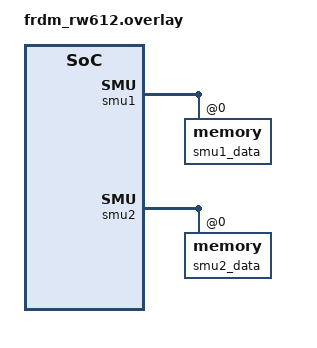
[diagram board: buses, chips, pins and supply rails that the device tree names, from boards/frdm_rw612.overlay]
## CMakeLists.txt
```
# SPDX-License-Identifier: Apache-2.0

cmake_minimum_required(VERSION 3.20.0)
find_package(Zephyr REQUIRED HINTS $ENV{ZEPHYR_BASE})
project(kernel_common)

if(CONFIG_PRINTK)
target_sources(app PRIVATE
	src/printk.c
  )
endif()
target_sources(app PRIVATE
	src/atomic.c
	src/bitarray.c
	src/byteorder.c
	src/clock.c
	src/main.c
	src/timeout_order.c
	src/multilib.c
	src/errno.c
	src/boot_delay.c
	src/pow2.c
  )

target_sources_ifdef(
	CONFIG_STATIC_INIT_GNU
	app PRIVATE
	src/constructor.c
)

target_sources_ifdef(
	CONFIG_IRQ_OFFLOAD
	app PRIVATE
	src/irq_offload.c
)
```

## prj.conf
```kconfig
CONFIG_ZTEST=y
CONFIG_PRINTK=y
CONFIG_LOG=y
CONFIG_POLL=y
CONFIG_BOOT_DELAY=500
CONFIG_IRQ_OFFLOAD=y
CONFIG_TEST_USERSPACE=y
CONFIG_BOUNDS_CHECK_BYPASS_MITIGATION=y
CONFIG_MAX_THREAD_BYTES=3
```

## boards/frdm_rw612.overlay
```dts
/*
 * Copyright 2024 NXP
 *
 * SPDX-License-Identifier: Apache-2.0
 */

&smu1 {
	smu1_data: memory@0 {
		/delete-property/ zephyr,memory-attr;
	};
};

&smu2 {
	smu2_data: memory@0 {
		/delete-property/ zephyr,memory-attr;
	};
};
```

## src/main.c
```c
/*
 * Copyright (c) 2016 Intel Corporation
 *
 * SPDX-License-Identifier: Apache-2.0
 */


#include <zephyr/ztest.h>
#include <zephyr/kernel_version.h>
#include <zephyr/sys/speculation.h>
#include <zephyr/version.h>

/**
 * @defgroup kernel_common_tests Common Tests
 * @ingroup all_tests
 * @{
 * @}
 *
 */

#ifndef CONFIG_PRINTK
ZTEST(printk, test_printk)
{
	ztest_test_skip();
}
#endif

/**
 * @brief Test sys_kernel_version_get() functionality
 *
 * @ingroup kernel_common_tests
 *
 * @see sys_kernel_version_get()
 */
ZTEST(common, test_version)
{
	uint32_t version = sys_kernel_version_get();

	zassert_true(SYS_KERNEL_VER_MAJOR(version) == KERNEL_VERSION_MAJOR,
		     "major version mismatch");
	zassert_true(SYS_KERNEL_VER_MINOR(version) == KERNEL_VERSION_MINOR,
		     "minor version mismatch");
	zassert_true(SYS_KERNEL_VER_PATCHLEVEL(version) == KERNEL_PATCHLEVEL,
		     "patchlevel version match");

}

ZTEST(common, test_bounds_check_mitigation)
{
	/* Very hard to test against speculation attacks, but we can
	 * at least assert that logically this function does
	 * what it says it does.
	 */

	int index = 17;

	index = k_array_index_sanitize(index, 24);
	zassert_equal(index, 17, "bad index");

#ifdef CONFIG_USERSPACE
	index = k_array_index_sanitize(index, 5);
	zassert_equal(index, 0, "bad index");
#endif
}

extern struct k_stack eno_stack;
extern struct k_thread eno_thread;

void *common_setup(void)
{
#if CONFIG_USERSPACE
	k_thread_access_grant(k_current_get(), &eno_thread, &eno_stack);
#endif

	return NULL;
}

ZTEST_SUITE(common, NULL, common_setup, NULL, NULL, NULL);
```

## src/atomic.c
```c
/*
 * Copyright (c) 2015 Intel Corporation
 *
 * SPDX-License-Identifier: Apache-2.0
 */

#include <zephyr/ztest.h>
#include <zephyr/sys/atomic.h>

/* convenience macro - return either 64-bit or 32-bit value */
#define ATOMIC_WORD(val_if_64, val_if_32)                                                          \
	((atomic_t)((sizeof(void *) == sizeof(uint64_t)) ? (val_if_64) : (val_if_32)))

/* an example of the number of atomic bit in an array */
#define NUM_FLAG_BITS 100

/* set test_cycle 1000us * 20 = 20ms */
#define TEST_CYCLE 20

#define THREADS_NUM 2

#define STACK_SIZE (512 + CONFIG_TEST_EXTRA_STACK_SIZE)

static K_THREAD_STACK_ARRAY_DEFINE(stack, THREADS_NUM, STACK_SIZE);

static struct k_thread thread[THREADS_NUM];

atomic_t total_atomic;

/**
 * @addtogroup kernel_common_tests
 * @{
 */

/**
 * @brief Verify atomic functionalities
 * @details
 * Test Objective:
 * - Test the function of the atomic operation API is correct.
 *
 * Test techniques:
 * - Dynamic analysis and testing
 * - Functional and black box testing
 * - Interface testing
 *
 * Prerequisite Conditions:
 * - N/A
 *
 * Input Specifications:
 * - N/A
 *
 * Test Procedure:
 * -# Call the API interface of the following atomic operations in turn,
 * judge the change of function return value and target operands.
 * - atomic_cas()
 * - atomic_ptr_cas()
 * - atomic_add()
 * - atomic_sub()
 * - atomic_inc()
 * - atomic_dec()
 * - atomic_get()
 * - atomic_ptr_get()
 * - atomic_set()
 * - atomic_ptr_set()
 * - atomic_clear()
 * - atomic_ptr_clear()
 * - atomic_or()
 * - atomic_xor()
 * - atomic_and()
 * - atomic_nand()
 * - atomic_test_bit()
 * - atomic_test_and_clear_bit()
 * - atomic_test_and_set_bit()
 * - atomic_clear_bit()
 * - atomic_set_bit()
 * - atomic_set_bit_to()
 * - ATOMIC_DEFINE
 *
 * Expected Test Result:
 * - The change of function return value and target operands is correct.
 *
 * Pass/Fail Criteria:
 * - Successful if check points in test procedure are all passed, otherwise failure.
 *
 * Assumptions and Constraints:
 * - N/A
 *
 * @see atomic_cas(), atomic_add(), atomic_sub(),
 * atomic_inc(), atomic_dec(), atomic_get(), atomic_set(),
 * atomic_clear(), atomic_or(), atomic_and(), atomic_xor(),
 * atomic_nand(), atomic_test_bit(), atomic_test_and_clear_bit(),
 * atomic_test_and_set_bit(), atomic_clear_bit(), atomic_set_bit(),
 * ATOMIC_DEFINE
 *
 * @ingroup kernel_common_tests
 */
ZTEST_USER(atomic, test_atomic)
{
	int i;

	atomic_t target, orig;
	atomic_ptr_t ptr_target;
	atomic_val_t value;
	atomic_val_t oldvalue;
	void *ptr_value, *old_ptr_value;

	ATOMIC_DEFINE(flag_bits, NUM_FLAG_BITS) = {0};

	zassert_equal(sizeof(atomic_t), ATOMIC_WORD(sizeof(uint64_t), sizeof(uint32_t)),
		      "sizeof(atomic_t)");

	target = 4;
	value = 5;
	oldvalue = 6;

	/* atomic_cas() */
	zassert_false(atomic_cas(&target, oldvalue, value), "atomic_cas");
	target = 6;
	zassert_true(atomic_cas(&target, oldvalue, value), "atomic_cas");
	zassert_true((target == value), "atomic_cas");

	/* atomic_ptr_cas() */
	ptr_target = ATOMIC_PTR_INIT((void *)4);
	ptr_value = (atomic_ptr_val_t)5;
	old_ptr_value = (atomic_ptr_val_t)6;
	zassert_false(atomic_ptr_cas(&ptr_target, old_ptr_value, ptr_value),
		      "atomic_ptr_cas");
	ptr_target = (atomic_ptr_val_t)6;
	zassert_true(atomic_ptr_cas(&ptr_target, old_ptr_value, ptr_value),
		     "atomic_ptr_cas");
	zassert_true((ptr_target == ptr_value), "atomic_ptr_cas");

	/* atomic_add() */
	target = 1;
	value = 2;
	zassert_true((atomic_add(&target, value) == 1), "atomic_add");
	zassert_true((target == 3), "atomic_add");
	/* Test the atomic_add() function parameters can be negative */
	target = 2;
	value = -4;
	zassert_true((atomic_add(&target, value) == 2), "atomic_add");
	zassert_true((target == -2), "atomic_add");

	/* atomic_sub() */
	target = 10;
	value = 2;
	zassert_true((atomic_sub(&target, value) == 10), "atomic_sub");
	zassert_true((target == 8), "atomic_sub");
	/* Test the atomic_sub() function parameters can be negative */
	target = 5;
	value = -4;
	zassert_true((atomic_sub(&target, value) == 5), "atomic_sub");
	zassert_true((target == 9), "atomic_sub");

	/* atomic_inc() */
	target = 5;
	zassert_true((atomic_inc(&target) == 5), "atomic_inc");
	zassert_true((target == 6), "atomic_inc");

	/* atomic_dec() */
	target = 2;
	zassert_true((atomic_dec(&target) == 2), "atomic_dec");
	zassert_true((target == 1), "atomic_dec");

	/* atomic_get() */
	target = 50;
	zassert_true((atomic_get(&target) == 50), "atomic_get");

	/* atomic_ptr_get() */
	ptr_target = ATOMIC_PTR_INIT((void *)50);
	zassert_true((atomic_ptr_get(&ptr_target) == (atomic_ptr_val_t)50),
		     "atomic_ptr_get");

	/* atomic_set() */
	target = 42;
	value = 77;
	zassert_true((atomic_set(&target, value) == 42), "atomic_set");
	zassert_true((target == value), "atomic_set");

	/* atomic_ptr_set() */
	ptr_target = ATOMIC_PTR_INIT((void *)42);
	ptr_value = (atomic_ptr_val_t)77;
	zassert_true((atomic_ptr_set(&ptr_target, ptr_value) == (atomic_ptr_val_t)42),
		     "atomic_ptr_set");
	zassert_true((ptr_target == ptr_value), "atomic_ptr_set");

	/* atomic_clear() */
	target = 100;
	zassert_true((atomic_clear(&target) == 100), "atomic_clear");
	zassert_true((target == 0), "atomic_clear");

	/* atomic_ptr_clear() */
	ptr_target = ATOMIC_PTR_INIT((void *)100);
	zassert_true((atomic_ptr_clear(&ptr_target) == (atomic_ptr_val_t)100),
		     "atomic_ptr_clear");
	zassert_true((ptr_target == NULL), "atomic_ptr_clear");

	/* atomic_or() */
	target = 0xFF00;
	value  = 0x0F0F;
	zassert_true((atomic_or(&target, value) == 0xFF00), "atomic_or");
	zassert_true((target == 0xFF0F), "atomic_or");

	/* atomic_xor() */
	target = 0xFF00;
	value  = 0x0F0F;
	zassert_true((atomic_xor(&target, value) == 0xFF00), "atomic_xor");
	zassert_true((target == 0xF00F), "atomic_xor");

	/* atomic_and() */
	target = 0xFF00;
	value  = 0x0F0F;
	zassert_true((atomic_and(&target, value) == 0xFF00), "atomic_and");
	zassert_true((target == 0x0F00), "atomic_and");


	/* atomic_nand() */
	target = 0xFF00;
	value  = 0x0F0F;
	zassert_true((atomic_nand(&target, value) == 0xFF00), "atomic_nand");
	zassert_true((target == ATOMIC_WORD(0xFFFFFFFFFFFFF0FF, 0xFFFFF0FF)), "atomic_nand");

	/* atomic_test_bit() */
	for (i = 0; i < ATOMIC_BITS; i++) {
		target = ATOMIC_WORD(0x0F0F0F0F0F0F0F0F, 0x0F0F0F0F);
		zassert_true(!!(atomic_test_bit(&target, i) == !!(target & BIT(i))),
			     "atomic_test_bit");
	}

	/* atomic_test_and_clear_bit() */
	for (i = 0; i < ATOMIC_BITS; i++) {
		orig = ATOMIC_WORD(0x0F0F0F0F0F0F0F0F, 0x0F0F0F0F);
		target = orig;
		zassert_true(!!(atomic_test_and_clear_bit(&target, i)) == !!(orig & BIT(i)),
			     "atomic_test_and_clear_bit");
		zassert_true(target == (orig & ~BIT(i)), "atomic_test_and_clear_bit");
	}

	/* atomic_test_and_set_bit() */
	for (i = 0; i < ATOMIC_BITS; i++) {
		orig = ATOMIC_WORD(0x0F0F0F0F0F0F0F0F, 0x0F0F0F0F);
		target = orig;
		zassert_true(!!(atomic_test_and_set_bit(&target, i)) == !!(orig & BIT(i)),
			     "atomic_test_and_set_bit");
		zassert_true(target == (orig | BIT(i)), "atomic_test_and_set_bit");
	}

	/* atomic_clear_bit() */
	for (i = 0; i < ATOMIC_BITS; i++) {
		orig = ATOMIC_WORD(0x0F0F0F0F0F0F0F0F, 0x0F0F0F0F);
		target = orig;
		atomic_clear_bit(&target, i);
		zassert_true(target == (orig & ~BIT(i)), "atomic_clear_bit");
	}

	/* atomic_set_bit() */
	for (i = 0; i < ATOMIC_BITS; i++) {
		orig = ATOMIC_WORD(0x0F0F0F0F0F0F0F0F, 0x0F0F0F0F);
		target = orig;
		atomic_set_bit(&target, i);
		zassert_true(target == (orig | BIT(i)), "atomic_set_bit");
	}

	/* atomic_set_bit_to(&target, i, false) */
	for (i = 0; i < ATOMIC_BITS; i++) {
		orig = ATOMIC_WORD(0x0F0F0F0F0F0F0F0F, 0x0F0F0F0F);
		target = orig;
		atomic_set_bit_to(&target, i, false);
		zassert_true(target == (orig & ~BIT(i)), "atomic_set_bit_to");
	}

	/* atomic_set_bit_to(&target, i, true) */
	for (i = 0; i < ATOMIC_BITS; i++) {
		orig = ATOMIC_WORD(0x0F0F0F0F0F0F0F0F, 0x0F0F0F0F);
		target = orig;
		atomic_set_bit_to(&target, i, true);
		zassert_true(target == (orig | BIT(i)), "atomic_set_bit_to");
	}

	/* ATOMIC_DEFINE */
	for (i = 0; i < NUM_FLAG_BITS; i++) {
		atomic_set_bit(flag_bits, i);
		zassert_true(!!atomic_test_bit(flag_bits, i) == !!(1),
			"Failed to set a single bit in an array of atomic variables");
		atomic_clear_bit(flag_bits, i);
		zassert_true(!!atomic_test_bit(flag_bits, i) == !!(0),
			"Failed to clear a single bit in an array of atomic variables");
	}
}

/* This helper function will run more the one slice */
void atomic_handler(void *p1, void *p2, void *p3)
{
	ARG_UNUSED(p1);
	ARG_UNUSED(p2);
	ARG_UNUSED(p3);

	for (int i = 0; i < TEST_CYCLE; i++) {
		atomic_inc(&total_atomic);
		/* Do 1000us busywait to longer the handler execute time */
		k_busy_wait(1000);
	}
}

/**
 * @brief Verify atomic operation with threads
 *
 * @details Creat two preempt threads with equal priority to
 * atomically access the same atomic value. Because these preempt
 * threads are of equal priority, so enable time slice to make
 * them scheduled. The thread will execute for some time.
 * In this time, the two sub threads will be scheduled separately
 * according to the time slice.
 *
 * @ingroup kernel_common_tests
 */
ZTEST(atomic, test_threads_access_atomic)
{
	k_tid_t tid[THREADS_NUM];

	/* enable time slice 1ms at priority 10 */
	k_sched_time_slice_set(1, K_PRIO_PREEMPT(10));

	for (int i = 0; i < THREADS_NUM; i++) {
		tid[i] = k_thread_create(&thread[i], stack[i], STACK_SIZE,
				atomic_handler, NULL, NULL, NULL,
				K_PRIO_PREEMPT(10), 0, K_NO_WAIT);
	}

	for (int i = 0; i < THREADS_NUM; i++) {
		k_thread_join(tid[i], K_FOREVER);
	}

	/* disable time slice */
	k_sched_time_slice_set(0, K_PRIO_PREEMPT(10));

	zassert_true(total_atomic == (TEST_CYCLE * THREADS_NUM),
		"atomic counting failure");
}

/**
 * @brief Checks that the value of atomic_t will be the same in case of overflow
 *		if incremented in atomic and non-atomic manner
 *
 * @details According to C standard the value of a signed variable
 *	is undefined in case of overflow. This test checks that the value
 *	of atomic_t will be the same in case of overflow if incremented in atomic
 *	and non-atomic manner. This allows us to increment an atomic variable
 *	in a non-atomic manner (as long as it is logically safe)
 *	and expect its value to match the result of the similar atomic increment.
 *
 * @ingroup kernel_common_tests
 */
ZTEST(atomic, test_atomic_overflow)
{
	/* Check overflow over max signed value */
	uint64_t overflowed_value = (uint64_t)1 << (ATOMIC_BITS - 1);
	atomic_val_t atomic_value = overflowed_value - 1;
	atomic_t atomic_var = ATOMIC_INIT(atomic_value);

	atomic_value++;
	atomic_inc(&atomic_var);

	zassert_true(atomic_value == atomic_get(&atomic_var),
		"max signed overflow mismatch: %lx/%lx",
		atomic_value, atomic_get(&atomic_var));
	zassert_true(atomic_value == (atomic_val_t)overflowed_value,
		"unexpected value after overflow: %lx, expected: %lx",
		atomic_value, (atomic_val_t)overflowed_value);

	/* Check overflow over max unsigned value */
	atomic_value = -1;
	atomic_var = ATOMIC_INIT(atomic_value);

	atomic_value++;
	atomic_inc(&atomic_var);

	zassert_true(atomic_value == atomic_get(&atomic_var),
		"max unsigned overflow mismatch: %lx/%lx",
		atomic_value, atomic_get(&atomic_var));
	zassert_true(atomic_value == 0,
		"unexpected value after overflow: %lx, expected: 0",
		atomic_value);
}

extern void *common_setup(void);
ZTEST_SUITE(atomic, NULL, common_setup, NULL, NULL, NULL);
/**
 * @}
 */
```

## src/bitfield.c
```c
/*
 * Copyright (c) 2016 Intel Corporation
 *
 * SPDX-License-Identifier: Apache-2.0
 */

#include <zephyr/kernel.h>
#include <zephyr/ztest.h>
#include <zephyr/arch/cpu.h>

#include <zephyr/tc_util.h>

#ifdef CONFIG_BIG_ENDIAN
#define BIT_INDEX(bit)  ((3 - ((bit >> 3) & 0x3)) + 4*(bit >> 5))
#else
#define BIT_INDEX(bit)  (bit >> 3)
#endif
#define BIT_VAL(bit)    (1 << (bit & 0x7))
#define BITFIELD_SIZE   512

/**
 * @addtogroup kernel_common_tests
 * @{
 */

/**
 * @brief Test bitfield operations
 *
 * @see sys_test_bit(), sys_set_bit(), sys_clear_bit(),
 * sys_bitfield_set_bit(), sys_bitfield_clear_bit(),
 * sys_bitfield_test_bit(), sys_bitfield_test_and_set_bit(),
 * sys_bitfield_test_and_clear_bit()
 */
ZTEST(bitfield, test_bitfield)
{
#ifdef CONFIG_ARM
	ztest_test_skip();
#else
	uint32_t b1 = 0U;
	unsigned char b2[BITFIELD_SIZE >> 3] = { 0 };
	unsigned int bit;
	int ret;

	TC_PRINT("twiddling bits....\n");

	for (bit = 0U; bit < 32; ++bit) {
		sys_set_bit((mem_addr_t)&b1, bit);

		zassert_equal(b1, (1 << bit),
			      "sys_set_bit failed on bit %d\n", bit);

		zassert_true(sys_test_bit((mem_addr_t)&b1, bit),
			     "sys_test_bit did not detect bit %d\n", bit);

		sys_clear_bit((mem_addr_t)&b1, bit);
		zassert_equal(b1, 0, "sys_clear_bit failed for bit %d\n", bit);

		zassert_false(sys_test_bit((mem_addr_t)&b1, bit),
			      "sys_test_bit erroneously detected bit %d\n",
			      bit);

		zassert_false(sys_test_and_set_bit((mem_addr_t)&b1, bit),
			      "sys_test_and_set_bit erroneously"
			      " detected bit %d\n", bit);
		zassert_equal(b1, (1 << bit),
			      "sys_test_and_set_bit did not set bit %d\n",
			      bit);
		zassert_true(sys_test_and_set_bit((mem_addr_t)&b1, bit),
			     "sys_test_and_set_bit did not detect bit %d\n",
			     bit);
		zassert_equal(b1, (1 << bit),
			      "sys_test_and_set_bit cleared bit %d\n", bit);

		zassert_true(sys_test_and_clear_bit((mem_addr_t)&b1, bit),
			     "sys_test_and_clear_bit did not detect bit %d\n",
			     bit);
		zassert_equal(b1, 0, "sys_test_and_clear_bit did not clear"
			      " bit %d\n", bit);
		zassert_false(sys_test_and_clear_bit((mem_addr_t)&b1, bit),
			      "sys_test_and_clear_bit erroneously detected"
			      " bit %d\n", bit);
		zassert_equal(b1, 0, "sys_test_and_clear_bit set bit %d\n",
			      bit);
	}

	for (bit = 0U; bit < BITFIELD_SIZE; ++bit) {
		sys_bitfield_set_bit((mem_addr_t)b2, bit);
		zassert_equal(b2[BIT_INDEX(bit)], BIT_VAL(bit),
			      "sys_bitfield_set_bit failed for bit %d\n",
			      bit);
		zassert_true(sys_bitfield_test_bit((mem_addr_t)b2, bit),
			     "sys_bitfield_test_bit did not detect bit %d\n",
			     bit);

		sys_bitfield_clear_bit((mem_addr_t)b2, bit);
		zassert_equal(b2[BIT_INDEX(bit)], 0,
			      "sys_bitfield_clear_bit failed for bit %d\n",
			      bit);
		zassert_false(sys_bitfield_test_bit((mem_addr_t)b2, bit),
			      "sys_bitfield_test_bit erroneously detected"
			      " bit %d\n", bit);

		ret = sys_bitfield_test_and_set_bit((mem_addr_t)b2, bit);
		zassert_false(ret, "sys_bitfield_test_and_set_bit erroneously"
			      " detected bit %d\n", bit);

		zassert_equal(b2[BIT_INDEX(bit)], BIT_VAL(bit),
			      "sys_bitfield_test_and_set_bit did not set"
			      " bit %d\n", bit);
		zassert_true(sys_bitfield_test_and_set_bit((mem_addr_t)b2, bit),
			     "sys_bitfield_test_and_set_bit did not detect bit"
			     " %d\n", bit);
		zassert_equal(b2[BIT_INDEX(bit)], BIT_VAL(bit),
			      "sys_bitfield_test_and_set_bit cleared bit %d\n",
			      bit);

		zassert_true(sys_bitfield_test_and_clear_bit((mem_addr_t)b2,
							     bit), "sys_bitfield_test_and_clear_bit did not"
			     " detect bit %d\n", bit);
		zassert_equal(b2[BIT_INDEX(bit)], 0,
			      "sys_bitfield_test_and_clear_bit did not"
			      " clear bit %d\n", bit);
		zassert_false(sys_bitfield_test_and_clear_bit((mem_addr_t)b2,
							      bit), "sys_bitfield_test_and_clear_bit"
			      " erroneously detected bit %d\n", bit);
		zassert_equal(b2[BIT_INDEX(bit)], 0,
			      "sys_bitfield_test_and_clear_bit set bit %d\n",
			      bit);
	}
#endif

}

extern void *common_setup(void);

ZTEST_SUITE(bitfield, NULL, common_setup, NULL, NULL, NULL);

/**
 * @}
 */
```

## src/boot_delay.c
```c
/*
 * Copyright (c) 2018 Intel Corporation
 *
 * SPDX-License-Identifier: Apache-2.0
 */

#include <zephyr/ztest.h>

/**
 * @brief Test delay during boot
 * @defgroup kernel_init_tests Init
 * @ingroup all_tests
 * @{
 */

/**
 * @brief This module verifies the delay specified during boot.
 */
ZTEST(boot_delay, test_bootdelay)
{
	if (CONFIG_SYS_CLOCK_HW_CYCLES_PER_SEC > 1000000000) {
		/* Systems with very fast counters (like the x86 TSC)
		 * and long firmware startup (often 10+ seconds on a
		 * EFI PC!)  can easily roll this over during startup,
		 * and there's no way to detect that case with a 32
		 * bit OS API.  Just skip it if we have a GHz-scale
		 * counter.
		 */
		ztest_test_skip();
	}

	uint32_t current_cycles = k_cycle_get_32();

	/* compare this with the boot delay specified */
	zassert_true(k_cyc_to_ns_floor64(current_cycles) >=
			(NSEC_PER_MSEC * CONFIG_BOOT_DELAY),
			"boot delay not executed: %d < %d",
			(uint32_t)k_cyc_to_ns_floor64(current_cycles),
			(NSEC_PER_MSEC * CONFIG_BOOT_DELAY));
}

extern void *common_setup(void);
ZTEST_SUITE(boot_delay, NULL, common_setup, NULL, NULL, NULL);

/**
 * @}
 */
```

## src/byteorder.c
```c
/*
 * Copyright (c) 2016 Intel Corporation
 *
 * SPDX-License-Identifier: Apache-2.0
 */


#include <zephyr/ztest.h>

#include <zephyr/sys/byteorder.h>

/**
 * @addtogroup kernel_common_tests
 * @{
 */
/**
 * @brief Test swapping for memory contents
 *
 * @details Verify the functionality provided by
 * sys_memcpy_swap()
 *
 * @see sys_memcpy_swap()
 */
ZTEST(byteorder, test_byteorder_memcpy_swap)
{
	uint8_t buf_orig[8] = { 0x00, 0x01, 0x02, 0x03,
			     0x04, 0x05, 0x06, 0x07 };
	uint8_t buf_chk[8] = { 0x07, 0x06, 0x05, 0x04,
			    0x03, 0x02, 0x01, 0x00 };
	uint8_t buf_dst[8] = { 0 };

	sys_memcpy_swap(buf_dst, buf_orig, 8);
	zassert_true((memcmp(buf_dst, buf_chk, 8) == 0),
		     "Swap memcpy failed");

	sys_memcpy_swap(buf_dst, buf_chk, 8);
	zassert_true((memcmp(buf_dst, buf_orig, 8) == 0),
		     "Swap memcpy failed");
}

/**
 * @brief Test sys_mem_swap() functionality
 *
 * @details Test if sys_mem_swap() reverses the contents
 *
 * @see sys_mem_swap()
 */
ZTEST(byteorder, test_byteorder_mem_swap)
{
	uint8_t buf_orig_1[8] = { 0x00, 0x01, 0x02, 0x03,
			       0x04, 0x05, 0x06, 0x07 };
	uint8_t buf_orig_2[11] = { 0x00, 0x01, 0x02, 0x03,
				0x04, 0x05, 0x06, 0x07,
				0x08, 0x09, 0xa0 };
	uint8_t buf_chk_1[8] = { 0x07, 0x06, 0x05, 0x04,
			      0x03, 0x02, 0x01, 0x00 };
	uint8_t buf_chk_2[11] = { 0xa0, 0x09, 0x08, 0x07,
			       0x06, 0x05, 0x04, 0x03,
			       0x02, 0x01, 0x00 };

	sys_mem_swap(buf_orig_1, 8);
	zassert_true((memcmp(buf_orig_1, buf_chk_1, 8) == 0),
		     "Swapping buffer failed");

	sys_mem_swap(buf_orig_2, 11);
	zassert_true((memcmp(buf_orig_2, buf_chk_2, 11) == 0),
		     "Swapping buffer failed");
}

/**
 * @brief Test sys_get_be64() functionality
 *
 * @details Test if sys_get_be64() correctly handles endianness.
 *
 * @see sys_get_be64()
 */
ZTEST(byteorder, test_sys_get_be64)
{
	uint64_t val = 0xf0e1d2c3b4a59687, tmp;
	uint8_t buf[] = {
		0xf0, 0xe1, 0xd2, 0xc3, 0xb4, 0xa5, 0x96, 0x87
	};

	tmp = sys_get_be64(buf);

	zassert_equal(tmp, val, "sys_get_be64() failed");
}

/**
 * @brief Test sys_put_be64() functionality
 *
 * @details Test if sys_put_be64() correctly handles endianness.
 *
 * @see sys_put_be64()
 */
ZTEST(byteorder, test_sys_put_be64)
{
	uint64_t val = 0xf0e1d2c3b4a59687;
	uint8_t buf[] = {
		0xf0, 0xe1, 0xd2, 0xc3, 0xb4, 0xa5, 0x96, 0x87
	};
	uint8_t tmp[sizeof(uint64_t)];

	sys_put_be64(val, tmp);

	zassert_mem_equal(tmp, buf, sizeof(uint64_t), "sys_put_be64() failed");
}

/**
 * @brief Test sys_get_be40() functionality
 *
 * @details Test if sys_get_be40() correctly handles endianness.
 *
 * @see sys_get_be40()
 */
ZTEST(byteorder, test_sys_get_be40)
{
	uint64_t val = 0xf0e1d2c3b4, tmp;
	uint8_t buf[] = {0xf0, 0xe1, 0xd2, 0xc3, 0xb4};

	tmp = sys_get_be40(buf);

	zassert_equal(tmp, val, "sys_get_be64() failed");
}

/**
 * @brief Test sys_put_be40() functionality
 *
 * @details Test if sys_put_be40() correctly handles endianness.
 *
 * @see sys_put_be40()
 */
ZTEST(byteorder, test_sys_put_be40)
{
	uint64_t val = 0xf0e1d2c3b4;
	uint8_t buf[] = {0xf0, 0xe1, 0xd2, 0xc3, 0xb4};
	uint8_t tmp[sizeof(buf)];

	sys_put_be40(val, tmp);
	zassert_mem_equal(tmp, buf, sizeof(buf), "sys_put_be40() failed");
}

/**
 * @brief Test sys_get_be48() functionality
 *
 * @details Test if sys_get_be48() correctly handles endianness.
 *
 * @see sys_get_be48()
 */
ZTEST(byteorder, test_sys_get_be48)
{
	uint64_t val = 0xf0e1d2c3b4a5, tmp;
	uint8_t buf[] = {
		0xf0, 0xe1, 0xd2, 0xc3, 0xb4, 0xa5
	};

	tmp = sys_get_be48(buf);

	zassert_equal(tmp, val, "sys_get_be64() failed");
}

/**
 * @brief Test sys_put_be48() functionality
 *
 * @details Test if sys_put_be48() correctly handles endianness.
 *
 * @see sys_put_be48()
 */
ZTEST(byteorder, test_sys_put_be48)
{
	uint64_t val = 0xf0e1d2c3b4a5;
	uint8_t buf[] = {
		0xf0, 0xe1, 0xd2, 0xc3, 0xb4, 0xa5
	};
	uint8_t tmp[sizeof(buf)];

	sys_put_be48(val, tmp);
	zassert_mem_equal(tmp, buf, sizeof(buf), "sys_put_be48() failed");
}

/**
 * @brief Test sys_get_be32() functionality
 *
 * @details Test if sys_get_be32() correctly handles endianness.
 *
 * @see sys_get_be32()
 */
ZTEST(byteorder, test_sys_get_be32)
{
	uint32_t val = 0xf0e1d2c3, tmp;
	uint8_t buf[] = {
		0xf0, 0xe1, 0xd2, 0xc3
	};

	tmp = sys_get_be32(buf);

	zassert_equal(tmp, val, "sys_get_be32() failed");
}

/**
 * @brief Test sys_put_be32() functionality
 *
 * @details Test if sys_put_be32() correctly handles endianness.
 *
 * @see sys_put_be32()
 */
ZTEST(byteorder, test_sys_put_be32)
{
	uint64_t val = 0xf0e1d2c3;
	uint8_t buf[] = {
		0xf0, 0xe1, 0xd2, 0xc3
	};
	uint8_t tmp[sizeof(uint32_t)];

	sys_put_be32(val, tmp);

	zassert_mem_equal(tmp, buf, sizeof(uint32_t), "sys_put_be32() failed");
}

/**
 * @brief Test sys_get_be24() functionality
 *
 * @details Test if sys_get_be24() correctly handles endianness.
 *
 * @see sys_get_be24()
 */
ZTEST(byteorder, test_sys_get_be24)
{
	uint32_t val = 0xf0e1d2, tmp;
	uint8_t buf[] = {
		0xf0, 0xe1, 0xd2
	};

	tmp = sys_get_be24(buf);

	zassert_equal(tmp, val, "sys_get_be24() failed");
}

/**
 * @brief Test sys_put_be24() functionality
 *
 * @details Test if sys_put_be24() correctly handles endianness.
 *
 * @see sys_put_be24()
 */
ZTEST(byteorder, test_sys_put_be24)
{
	uint64_t val = 0xf0e1d2;
	uint8_t buf[] = {
		0xf0, 0xe1, 0xd2
	};
	uint8_t tmp[sizeof(buf)];

	sys_put_be24(val, tmp);

	zassert_mem_equal(tmp, buf, sizeof(buf), "sys_put_be24() failed");
}

/**
 * @brief Test sys_get_be16() functionality
 *
 * @details Test if sys_get_be16() correctly handles endianness.
 *
 * @see sys_get_be16()
 */
ZTEST(byteorder, test_sys_get_be16)
{
	uint32_t val = 0xf0e1, tmp;
	uint8_t buf[] = {
		0xf0, 0xe1
	};

	tmp = sys_get_be16(buf);

	zassert_equal(tmp, val, "sys_get_be16() failed");
}

/**
 * @brief Test sys_put_be16() functionality
 *
 * @details Test if sys_put_be16() correctly handles endianness.
 *
 * @see sys_put_be16()
 */
ZTEST(byteorder, test_sys_put_be16)
{
	uint64_t val = 0xf0e1;
	uint8_t buf[] = {
		0xf0, 0xe1
	};
	uint8_t tmp[sizeof(uint16_t)];

	sys_put_be16(val, tmp);

	zassert_mem_equal(tmp, buf, sizeof(uint16_t), "sys_put_be16() failed");
}

/**
 * @brief Test sys_get_le16() functionality
 *
 * @details Test if sys_get_le16() correctly handles endianness.
 *
 * @see sys_get_le16()
 */
ZTEST(byteorder, test_sys_get_le16)
{
	uint32_t val = 0xf0e1, tmp;
	uint8_t buf[] = {
		0xe1, 0xf0
	};

	tmp = sys_get_le16(buf);

	zassert_equal(tmp, val, "sys_get_le16() failed");
}

/**
 * @brief Test sys_put_le16() functionality
 *
 * @details Test if sys_put_le16() correctly handles endianness.
 *
 * @see sys_put_le16()
 */
ZTEST(byteorder, test_sys_put_le16)
{
	uint64_t val = 0xf0e1;
	uint8_t buf[] = {
		0xe1, 0xf0
	};
	uint8_t tmp[sizeof(uint16_t)];

	sys_put_le16(val, tmp);

	zassert_mem_equal(tmp, buf, sizeof(uint16_t), "sys_put_le16() failed");
}

/**
 * @brief Test sys_get_le24() functionality
 *
 * @details Test if sys_get_le24() correctly handles endianness.
 *
 * @see sys_get_le24()
 */
ZTEST(byteorder, test_sys_get_le24)
{
	uint32_t val = 0xf0e1d2, tmp;
	uint8_t buf[] = {
		0xd2, 0xe1, 0xf0
	};

	tmp = sys_get_le24(buf);

	zassert_equal(tmp, val, "sys_get_le24() failed");
}

/**
 * @brief Test sys_put_le24() functionality
 *
 * @details Test if sys_put_le24() correctly handles endianness.
 *
 * @see sys_put_le24()
 */
ZTEST(byteorder, test_sys_put_le24)
{
	uint64_t val = 0xf0e1d2;
	uint8_t buf[] = {
		0xd2, 0xe1, 0xf0
	};
	uint8_t tmp[sizeof(uint32_t)];

	sys_put_le24(val, tmp);

	zassert_mem_equal(tmp, buf, sizeof(buf), "sys_put_le24() failed");
}

/**
 * @brief Test sys_get_le32() functionality
 *
 * @details Test if sys_get_le32() correctly handles endianness.
 *
 * @see sys_get_le32()
 */
ZTEST(byteorder, test_sys_get_le32)
{
	uint32_t val = 0xf0e1d2c3, tmp;
	uint8_t buf[] = {
		0xc3, 0xd2, 0xe1, 0xf0
	};

	tmp = sys_get_le32(buf);

	zassert_equal(tmp, val, "sys_get_le32() failed");
}

/**
 * @brief Test sys_put_le32() functionality
 *
 * @details Test if sys_put_le32() correctly handles endianness.
 *
 * @see sys_put_le32()
 */
ZTEST(byteorder, test_sys_put_le32)
{
	uint64_t val = 0xf0e1d2c3;
	uint8_t buf[] = {
		0xc3, 0xd2, 0xe1, 0xf0
	};
	uint8_t tmp[sizeof(uint32_t)];

	sys_put_le32(val, tmp);

	zassert_mem_equal(tmp, buf, sizeof(uint32_t), "sys_put_le32() failed");
}

/**
 * @brief Test sys_get_le40() functionality
 *
 * @details Test if sys_get_le40() correctly handles endianness.
 *
 * @see sys_get_le40()
 */
ZTEST(byteorder, test_sys_get_le40)
{
	uint64_t val = 0xf0e1d2c3b4, tmp;
	uint8_t buf[] = {0xb4, 0xc3, 0xd2, 0xe1, 0xf0};

	tmp = sys_get_le40(buf);

	zassert_equal(tmp, val, "sys_get_le40() failed");
}

/**
 * @brief Test sys_put_le40() functionality
 *
 * @details Test if sys_put_le40() correctly handles endianness.
 *
 * @see sys_put_le40()
 */
ZTEST(byteorder, test_sys_put_le40)
{
	uint64_t val = 0xf0e1d2c3b4;
	uint8_t buf[] = {0xb4, 0xc3, 0xd2, 0xe1, 0xf0};
	uint8_t tmp[sizeof(uint64_t)];

	sys_put_le40(val, tmp);

	zassert_mem_equal(tmp, buf, sizeof(buf), "sys_put_le40() failed");
}

/**
 * @brief Test sys_get_le48() functionality
 *
 * @details Test if sys_get_le48() correctly handles endianness.
 *
 * @see sys_get_le48()
 */
ZTEST(byteorder, test_sys_get_le48)
{
	uint64_t val = 0xf0e1d2c3b4a5, tmp;
	uint8_t buf[] = {
		0xa5, 0xb4, 0xc3, 0xd2, 0xe1, 0xf0
	};

	tmp = sys_get_le48(buf);

	zassert_equal(tmp, val, "sys_get_le48() failed");
}

/**
 * @brief Test sys_put_le48() functionality
 *
 * @details Test if sys_put_le48() correctly handles endianness.
 *
 * @see sys_put_le48()
 */
ZTEST(byteorder, test_sys_put_le48)
{
	uint64_t val = 0xf0e1d2c3b4a5;
	uint8_t buf[] = {
		0xa5, 0xb4, 0xc3, 0xd2, 0xe1, 0xf0
	};
	uint8_t tmp[sizeof(uint64_t)];

	sys_put_le48(val, tmp);

	zassert_mem_equal(tmp, buf, sizeof(buf), "sys_put_le48() failed");
}

/**
 * @brief Test sys_get_le64() functionality
 *
 * @details Test if sys_get_le64() correctly handles endianness.
 *
 * @see sys_get_le64()
 */
ZTEST(byteorder, test_sys_get_le64)
{
	uint64_t val = 0xf0e1d2c3b4a59687, tmp;
	uint8_t buf[] = {
		0x87, 0x96, 0xa5, 0xb4, 0xc3, 0xd2, 0xe1, 0xf0
	};

	tmp = sys_get_le64(buf);

	zassert_equal(tmp, val, "sys_get_le64() failed");
}

/**
 * @brief Test sys_put_le64() functionality
 *
 * @details Test if sys_put_le64() correctly handles endianness.
 *
 * @see sys_put_le64()
 */
ZTEST(byteorder, test_sys_put_le64)
{
	uint64_t val = 0xf0e1d2c3b4a59687;
	uint8_t buf[] = {
		0x87, 0x96, 0xa5, 0xb4, 0xc3, 0xd2, 0xe1, 0xf0
	};
	uint8_t tmp[sizeof(uint64_t)];

	sys_put_le64(val, tmp);

	zassert_mem_equal(tmp, buf, sizeof(uint64_t), "sys_put_le64() failed");
}

/**
 * @brief Test sys_uint16_to_array() functionality
 *
 * @details Test if sys_uint16_to_array() correctly handles endianness.
 *
 * @see sys_uint16_to_array()
 */
ZTEST(byteorder, test_sys_uint16_to_array)
{
	#define VAL 0xf0e1
	uint8_t tmp[sizeof(uint16_t)] = sys_uint16_to_array(VAL);
	uint8_t buf[] = {
		COND_CODE_1(CONFIG_LITTLE_ENDIAN,
		(0xe1, 0xf0),
		(0xf0, 0xe1))
	};

	zassert_mem_equal(tmp, buf, sizeof(uint16_t), "sys_uint16_to_array() failed");
	#undef VAL
}

/**
 * @brief Test sys_uint32_to_array() functionality
 *
 * @details Test if sys_uint32_to_array() correctly handles endianness.
 *
 * @see sys_uint32_to_array()
 */
ZTEST(byteorder, test_sys_uint32_to_array)
{
	#define VAL 0xf0e1d2c3
	uint8_t tmp[sizeof(uint32_t)] = sys_uint32_to_array(VAL);
	uint8_t buf[] = {
		COND_CODE_1(CONFIG_LITTLE_ENDIAN,
		(0xc3, 0xd2, 0xe1, 0xf0),
		(0xf0, 0xe1, 0xd2, 0xc3))
	};

	zassert_mem_equal(tmp, buf, sizeof(uint32_t), "sys_uint32_to_array() failed");
	#undef VAL
}

/**
 * @brief Test sys_uint64_to_array() functionality
 *
 * @details Test if sys_uint64_to_array() correctly handles endianness.
 *
 * @see sys_uint64_to_array()
 */
ZTEST(byteorder, test_sys_uint64_to_array)
{
	#define VAL 0xf0e1d2c3b4a59687
	uint8_t tmp[sizeof(uint64_t)] = sys_uint64_to_array(VAL);
	uint8_t buf[] = {
		COND_CODE_1(CONFIG_LITTLE_ENDIAN,
		(0x87, 0x96, 0xa5, 0xb4, 0xc3, 0xd2, 0xe1, 0xf0),
		(0xf0, 0xe1, 0xd2, 0xc3, 0xb4, 0xa5, 0x96, 0x87))
	};

	zassert_mem_equal(tmp, buf, sizeof(uint64_t), "sys_uint64_to_array() failed");
	#undef VAL
}

extern void *common_setup(void);
ZTEST_SUITE(byteorder, NULL, common_setup, NULL, NULL, NULL);

/**
 * @}
 */
```

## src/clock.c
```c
/*
 * Copyright (c) 2017 Intel Corporation
 *
 * SPDX-License-Identifier: Apache-2.0
 */

#include <zephyr/ztest.h>

#define ALIGN_MS_BOUNDARY		       \
	do {				       \
		uint32_t t = k_uptime_get_32();   \
		while (t == k_uptime_get_32()) \
			Z_SPIN_DELAY(50);      \
	} while (0)

struct timer_data {
	int duration_count;
	int stop_count;
};
static void duration_expire(struct k_timer *timer);
static void stop_expire(struct k_timer *timer);

/** TESTPOINT: init timer via K_TIMER_DEFINE */
K_TIMER_DEFINE(ktimer, duration_expire, stop_expire);

static ZTEST_BMEM struct timer_data tdata;

#define DURATION 100
#define LESS_DURATION 70

/**
 * @addtogroup kernel_common_tests
 * @{
 */

/**
 * @brief Test clock uptime APIs functionality
 *
 * @see k_uptime_get(), k_uptime_get_32(), k_uptime_delta()
 */
ZTEST_USER(clock, test_clock_uptime)
{
	uint64_t t64, t32;
	int64_t d64 = 0;

	/**TESTPOINT: uptime elapse*/
	t64 = k_uptime_get();
	while (k_uptime_get() < (t64 + 5)) {
		Z_SPIN_DELAY(50);
	}

	/**TESTPOINT: uptime elapse lower 32-bit*/
	t32 = k_uptime_get_32();
	while (k_uptime_get_32() < (t32 + 5)) {
		Z_SPIN_DELAY(50);
	}

	/**TESTPOINT: uptime straddled ms boundary*/
	t32 = k_uptime_get_32();
	ALIGN_MS_BOUNDARY;
	zassert_true(k_uptime_get_32() > t32);

	/**TESTPOINT: uptime delta*/
	d64 = k_uptime_delta(&d64);
	while (k_uptime_delta(&d64) == 0) {
		Z_SPIN_DELAY(50);
	}
}

/**
 * @brief Test 32-bit clock cycle functionality
 *
 * @details
 * Test Objective:
 * - The kernel architecture provide a 32bit monotonically increasing
 *   cycle counter
 * - This routine tests the k_cycle_get_32() and k_uptime_get_32()
 *   k_cycle_get_32() get cycles by accessing hardware clock.
 *   k_uptime_get_32() return cycles by transforming ticks into cycles.
 *
 * Testing techniques
 * - Functional and black box testing
 *
 * Prerequisite Condition:
 * - N/A
 *
 * Input Specifications:
 * - N/A
 *
 * Expected Test Result:
 * - The timer increases monotonically
 *
 * Pass/Fail criteria:
 * - Success if cycles increase monotonically, failure otherwise.
 *
 * Test Procedure:
 * -# At milli-second boundary, get cycles repeatedly by k_cycle_get_32()
 *  till cycles increased
 * -# At milli-second boundary, get cycles repeatedly by k_uptime_get_32()
 *  till cycles increased
 * -# Cross check cycles gotten by k_cycle_get_32() and k_uptime_get_32(),
 *  the delta cycle should be greater than 1 milli-second.
 *
 * Assumptions and Constraints
 * - N/A
 *
 * @see k_cycle_get_32(), k_uptime_get_32()
 */

ZTEST(clock, test_clock_cycle_32)
{
	uint32_t c32, c0, c1, t32;

	/**TESTPOINT: cycle elapse*/
	ALIGN_MS_BOUNDARY;
	c32 = k_cycle_get_32();
	/*break if cycle counter wrap around*/
	while (k_cycle_get_32() > c32 &&
	       k_cycle_get_32() < (c32 + k_ticks_to_cyc_floor32(1))) {
		Z_SPIN_DELAY(50);
	}

	/**TESTPOINT: cycle/uptime cross check*/
	c0 = k_cycle_get_32();
	ALIGN_MS_BOUNDARY;
	t32 = k_uptime_get_32();
	while (t32 == k_uptime_get_32()) {
		Z_SPIN_DELAY(50);
	}

	c1 = k_uptime_get_32();
	/*avoid cycle counter wrap around*/
	if (c1 > c0) {
		/* delta cycle should be greater than 1 milli-second*/
		zassert_true((c1 - c0) >
			     (sys_clock_hw_cycles_per_sec() / MSEC_PER_SEC),
			     NULL);
		/* delta NS should be greater than 1 milli-second */
		zassert_true((uint32_t)k_cyc_to_ns_floor64(c1 - c0) >
			     (NSEC_PER_SEC / MSEC_PER_SEC), NULL);
	}
}

/**
 * @brief Test 64-bit clock cycle functionality
 */
ZTEST(clock, test_clock_cycle_64)
{
	uint32_t d32;
	uint64_t d64;
	uint32_t t32[2];
	uint64_t t64[2];

	if (!IS_ENABLED(CONFIG_TIMER_HAS_64BIT_CYCLE_COUNTER)) {
		ztest_test_skip();
	}

	t64[0] = k_cycle_get_64();
	t32[0] = k_cycle_get_32();

	k_msleep(1);

	t32[1] = k_cycle_get_32();
	t64[1] = k_cycle_get_64();

	d32 = MIN(t32[1] - t32[0], t32[0] - t32[1]);
	d64 = MIN(t64[1] - t64[0], t64[1] - t64[0]);

	zassert_true(d64 >= d32,
		"k_cycle_get() (64-bit): d64: %" PRIu64 " < d32: %u", d64, d32);

	zassert_true(d64 < (d32 << 1),
		"k_cycle_get() (64-bit): d64: %" PRIu64 " >= 2 * d32: %u",
		d64, (d32 << 1));
}

/*
 *help function
 */
static void duration_expire(struct k_timer *timer)
{
	tdata.duration_count++;
}

static void stop_expire(struct k_timer *timer)
{
	tdata.stop_count++;
}

static void init_data_count(void)
{
	tdata.duration_count = 0;
	tdata.stop_count = 0;
}

/**
 * @brief Test millisecond time duration
 *
 * @details initialize a timer, then providing time duration in
 * millisecond, and check the duration time whether correct.
 *
 * @see k_timer_init(), k_timer_start(), k_timer_stop(),
 * k_busy_wait()
 *
 *
 */

ZTEST(clock, test_ms_time_duration)
{
	init_data_count();
	k_timer_start(&ktimer, K_MSEC(DURATION), K_NO_WAIT);

	/** TESTPOINT: waiting time less than duration and check the count*/
	k_busy_wait(LESS_DURATION * 1000);
	zassert_true(tdata.duration_count == 0);
	zassert_true(tdata.stop_count == 0);

	/** TESTPOINT: proving duration in millisecond */
	init_data_count();
	k_timer_start(&ktimer, K_MSEC(100), K_MSEC(50));

	/** TESTPOINT: waiting time more than duration and check the count */
	k_usleep(1);		/* align to tick */
	k_busy_wait((DURATION + 1) * 1000);
	zassert_true(tdata.duration_count == 1, "duration %u not 1",
		     tdata.duration_count);
	zassert_true(tdata.stop_count == 0,
		     "stop %u not 0", tdata.stop_count);

	/** cleanup environment */
	k_timer_stop(&ktimer);
}

extern void *common_setup(void);
ZTEST_SUITE(clock, NULL, common_setup, NULL, NULL, NULL);

/**
 * @}
 */
```

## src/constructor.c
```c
/*
 * Copyright (c) 2024 Keith Packard
 *
 * SPDX-License-Identifier: Apache-2.0
 */

#include <zephyr/kernel.h>
#include <errno.h>
#include <zephyr/tc_util.h>
#include <zephyr/ztest.h>
/**
 * @addtogroup kernel_common_tests
 * @{
 */

/**
 * @brief Test if constructors work
 *
 */

static int constructor_value;

#define CONSTRUCTOR_VALUE	1

void
__attribute__((__constructor__))
__constructor_init(void)
{
	constructor_value = CONSTRUCTOR_VALUE;
}

ZTEST(constructor, test_constructor)
{
	zassert_equal(constructor_value, CONSTRUCTOR_VALUE,
		      "constructor test failed: constructor not called");
}

extern void *common_setup(void);
ZTEST_SUITE(constructor, NULL, common_setup, NULL, NULL, NULL);

/**
 * @}
 */
```

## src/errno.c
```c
/*
 * Copyright (c) 2017 Intel Corporation
 *
 * SPDX-License-Identifier: Apache-2.0
 */

#include <zephyr/ztest.h>
#include <zephyr/kernel.h>
#include <errno.h>
#include <zephyr/sys/errno_private.h>

/**
 * @brief Test the thread context
 *
 * @defgroup kernel_threadcontext_tests Thread Context Tests
 *
 * @ingroup all_tests
 *
 * @{
 * @}
 */
#define N_THREADS 2
#define STACK_SIZE (384 + CONFIG_TEST_EXTRA_STACK_SIZE)

static K_THREAD_STACK_ARRAY_DEFINE(stacks, N_THREADS, STACK_SIZE);
static struct k_thread threads[N_THREADS];

K_THREAD_STACK_DEFINE(eno_stack, STACK_SIZE);
struct k_thread eno_thread;

static int errno_values[N_THREADS + 1] = {
	0xbabef00d,
	0xdeadbeef,
	0xabad1dea,
};

struct result {
	void *q;
	int pass;
};

struct result result[N_THREADS];

struct k_fifo fifo;

static void errno_thread(void *_n, void *_my_errno, void *_unused)
{
	int n = POINTER_TO_INT(_n);
	int my_errno = POINTER_TO_INT(_my_errno);

	errno = my_errno;

	k_msleep(30 - (n * 10));
	if (errno == my_errno) {
		result[n].pass = TC_PASS;
	}

	zassert_equal(errno, my_errno);

	k_fifo_put(&fifo, &result[n]);
}

/**
 * @brief Verify thread context
 *
 * @ingroup kernel_threadcontext_tests
 *
 * @details Check whether variable value per-thread are saved during
 *	context switch
 */
ZTEST(common_errno, test_thread_context)
{
	int rv = TC_PASS, test_errno;

	k_fifo_init(&fifo);

	errno = errno_values[N_THREADS];
	test_errno = errno;

	for (int ii = 0; ii < N_THREADS; ii++) {
		result[ii].pass = TC_FAIL;
	}

	/**TESTPOINT: thread- threads stacks are separate */
	for (int ii = 0; ii < N_THREADS; ii++) {
		k_thread_create(&threads[ii], stacks[ii], STACK_SIZE,
				errno_thread, INT_TO_POINTER(ii),
				INT_TO_POINTER(errno_values[ii]), NULL,
				K_PRIO_PREEMPT(ii + 5), 0, K_NO_WAIT);
	}

	for (int ii = 0; ii < N_THREADS; ii++) {
		struct result *p = k_fifo_get(&fifo, K_MSEC(100));

		if (!p || (p->pass != TC_PASS)) {
			rv = TC_FAIL;
		}
	}

	zassert_equal(errno, test_errno);

	if (errno != errno_values[N_THREADS]) {
		rv = TC_FAIL;
	}

	/* Make sure all the test thread end. */
	for (int ii = 0; ii < N_THREADS; ii++) {
		k_thread_join(&threads[ii], K_FOREVER);
	}

	if (rv != TC_PASS) {
		ztest_test_fail();
	}
}


#define ERROR_ANY 0xfc

void thread_entry_user(void *p1, void *p2, void *p3)
{
#ifdef CONFIG_NATIVE_LIBC
	/* The errno when using the host C library will be handled by it, so we skip it.
	 */
	ztest_test_skip();
#else
	int got_errno;

	/* assign the error number to C standard errno */
	errno = ERROR_ANY;

	/* got errno zephyr stored */
	got_errno = *(z_errno());

	zassert_equal(errno, got_errno, "errno is not corresponding.");
#endif
}

/**
 * @brief Verify errno works well
 *
 * @details Check whether a C standard errno can be stored successfully,
 *  no matter it is using tls or not.
 *
 * @ingroup kernel_threadcontext_tests
 */
ZTEST_USER(common_errno, test_errno)
{
	k_tid_t tid;
	uint32_t perm = K_INHERIT_PERMS;

	if (k_is_user_context()) {
		perm = perm | K_USER;
	}

	tid = k_thread_create(&eno_thread, eno_stack, STACK_SIZE,
				thread_entry_user, NULL, NULL, NULL,
				K_PRIO_PREEMPT(1), perm,
				K_NO_WAIT);

	k_thread_join(tid, K_FOREVER);
}

extern void *common_setup(void);

ZTEST_SUITE(common_errno, NULL, common_setup, NULL, NULL, NULL);
```

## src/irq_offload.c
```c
/*
 * Copyright (c) 2017 Intel Corporation
 *
 * SPDX-License-Identifier: Apache-2.0
 */

/**
 * @file
 *
 * This test case verifies the correctness of irq_offload(), an important
 * routine used in many other test cases for running a function in interrupt
 * context, on the IRQ stack.
 *
 */
#include <zephyr/kernel.h>
#include <zephyr/ztest.h>
#include <zephyr/kernel_structs.h>
#include <zephyr/irq_offload.h>

volatile uint32_t sentinel;
#define SENTINEL_VALUE 0xDEADBEEF

K_THREAD_STACK_DEFINE(offload_stack, 384 + CONFIG_TEST_EXTRA_STACK_SIZE);
struct k_thread offload_thread;

static void offload_function(const void *param)
{
	uint32_t x = POINTER_TO_INT(param);

	/* Make sure we're in IRQ context */
	zassert_true(k_is_in_isr(), "Not in IRQ context!");

	sentinel = x;
}

/**
 * @brief Verify thread context
 *
 * @ingroup kernel_interrupt_tests
 *
 * @details Check whether offloaded running function is in interrupt
 * context, on the IRQ stack or not.
 */
ZTEST(irq_offload, test_irq_offload)
{
	/* Simple validation of nested locking. */
	unsigned int key1, key2;

	key1 = arch_irq_lock();
	zassert_true(arch_irq_unlocked(key1),
		     "IRQs should have been unlocked, but key is 0x%x\n",
		     key1);
	key2 = arch_irq_lock();
	zassert_false(arch_irq_unlocked(key2),
		      "IRQs should have been locked, but key is 0x%x\n",
		      key2);
	arch_irq_unlock(key2);
	arch_irq_unlock(key1);

	/**TESTPOINT: Offload to IRQ context*/
	irq_offload(offload_function, (const void *)SENTINEL_VALUE);

	zassert_equal(sentinel, SENTINEL_VALUE,
		      "irq_offload() didn't work properly");
}

static struct k_timer nestoff_timer;
static bool timer_executed, nested_executed;

void nestoff_offload(const void *parameter)
{
	/* Suspend the thread we interrupted so we context switch, see below */
	k_thread_suspend(&offload_thread);

	nested_executed = true;
}


static void nestoff_timer_fn(struct k_timer *timer)
{
	zassert_false(nested_executed, "nested irq_offload ran too soon");
	irq_offload(nestoff_offload, NULL);
	zassert_true(nested_executed, "nested irq_offload did not run");

	/* Set this last, to be sure we return to this context and not
	 * the enclosing interrupt
	 */
	timer_executed = true;
}

static void offload_thread_fn(void *p0, void *p1, void *p2)
{
	k_timer_start(&nestoff_timer, K_TICKS(1), K_FOREVER);

	while (true) {
		zassert_false(timer_executed, "should not return to this thread");
	}
}

/* Invoke irq_offload() from an interrupt and verify that the
 * resulting nested interrupt doesn't explode
 */
ZTEST(common_1cpu, test_nested_irq_offload)
{
	if (!IS_ENABLED(CONFIG_IRQ_OFFLOAD_NESTED)) {
		ztest_test_skip();
	}

	k_thread_priority_set(k_current_get(), 1);

	k_timer_init(&nestoff_timer, nestoff_timer_fn, NULL);

	zassert_false(timer_executed, "timer ran too soon");
	zassert_false(nested_executed, "nested irq_offload ran too soon");

	/* Do this in a thread to exercise a regression case: the
	 * offload handler will suspend the thread it interrupted,
	 * ensuring that the interrupt returns back to this thread and
	 * effects a context switch of the nested interrupt (see
	 * #45779).  Requires that this be a 1cpu test case,
	 * obviously.
	 */
	k_thread_create(&offload_thread,
			offload_stack, K_THREAD_STACK_SIZEOF(offload_stack),
			offload_thread_fn, NULL, NULL, NULL,
			0, 0, K_NO_WAIT);

	zassert_true(timer_executed, "timer did not run");
	zassert_true(nested_executed, "nested irq_offload did not run");

	k_thread_abort(&offload_thread);
}

extern void *common_setup(void);
ZTEST_SUITE(irq_offload, NULL, common_setup, NULL, NULL, NULL);
```

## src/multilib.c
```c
/*
 * Copyright (c) 2016 Linaro Ltd.
 *
 * SPDX-License-Identifier: Apache-2.0
 */

#include <zephyr/kernel.h>
#include <errno.h>
#include <zephyr/tc_util.h>
#include <zephyr/ztest.h>
/**
 * @addtogroup kernel_common_tests
 * @{
 */

/**
 * @brief Test if correct multilib is selected
 *
 */
ZTEST(multilib, test_multilib)
{
	volatile long long a = 100;
	volatile long long b = 3;
	volatile long long c = a / b;

	zassert_equal(c, 33, "smoke-test failed: wrong multilib selected");
}

extern void *common_setup(void);
ZTEST_SUITE(multilib, NULL, common_setup, NULL, NULL, NULL);

/**
 * @}
 */
```

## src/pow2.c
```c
/*
 * Copyright (c) 2022 BayLibre SAS
 *
 * SPDX-License-Identifier: Apache-2.0
 */

#include <zephyr/ztest.h>
#include <zephyr/kernel.h>

/**
 * @brief Test the Z_POW2_CEIL() macro
 *
 * @defgroup test_pow2_ceil Z_POW2_CEIL() tests
 *
 * @ingroup all_tests
 *
 * @{
 * @}
 */

/**
 * @brief Verify compile-time constant results
 *
 * @ingroup test_pow2_ceil
 *
 * @details Check if static array allocations are sized as expected.
 */

char static_array1[Z_POW2_CEIL(1)];
char static_array2[Z_POW2_CEIL(2)];
char static_array3[Z_POW2_CEIL(3)];
char static_array4[Z_POW2_CEIL(4)];
char static_array5[Z_POW2_CEIL(5)];
char static_array7[Z_POW2_CEIL(7)];
char static_array8[Z_POW2_CEIL(8)];
char static_array9[Z_POW2_CEIL(9)];

BUILD_ASSERT(sizeof(static_array1) == 1);
BUILD_ASSERT(sizeof(static_array2) == 2);
BUILD_ASSERT(sizeof(static_array3) == 4);
BUILD_ASSERT(sizeof(static_array4) == 4);
BUILD_ASSERT(sizeof(static_array5) == 8);
BUILD_ASSERT(sizeof(static_array7) == 8);
BUILD_ASSERT(sizeof(static_array8) == 8);
BUILD_ASSERT(sizeof(static_array9) == 16);

/**
 * @brief Verify run-time non-constant results
 *
 * @ingroup test_pow2_ceil
 *
 * @details Check if run-time non-constant results are as expected.
 *          Use a volatile variable to prevent compiler optimizations.
 */

static void test_pow2_ceil_x(unsigned long test_value,
			     unsigned long expected_result)
{
	volatile unsigned int x = test_value;
	unsigned int result = Z_POW2_CEIL(x);

	zassert_equal(result, expected_result,
		      "ZPOW2_CEIL(%lu) returned %lu, expected %lu",
		      test_value, result, expected_result);
}

ZTEST(pow2, test_pow2_ceil)
{
	test_pow2_ceil_x(1, 1);
	test_pow2_ceil_x(2, 2);
	test_pow2_ceil_x(3, 4);
	test_pow2_ceil_x(4, 4);
	test_pow2_ceil_x(5, 8);
	test_pow2_ceil_x(7, 8);
	test_pow2_ceil_x(8, 8);
	test_pow2_ceil_x(9, 16);
}

extern void *common_setup(void);
ZTEST_SUITE(pow2, NULL, common_setup, NULL, NULL, NULL);
```
